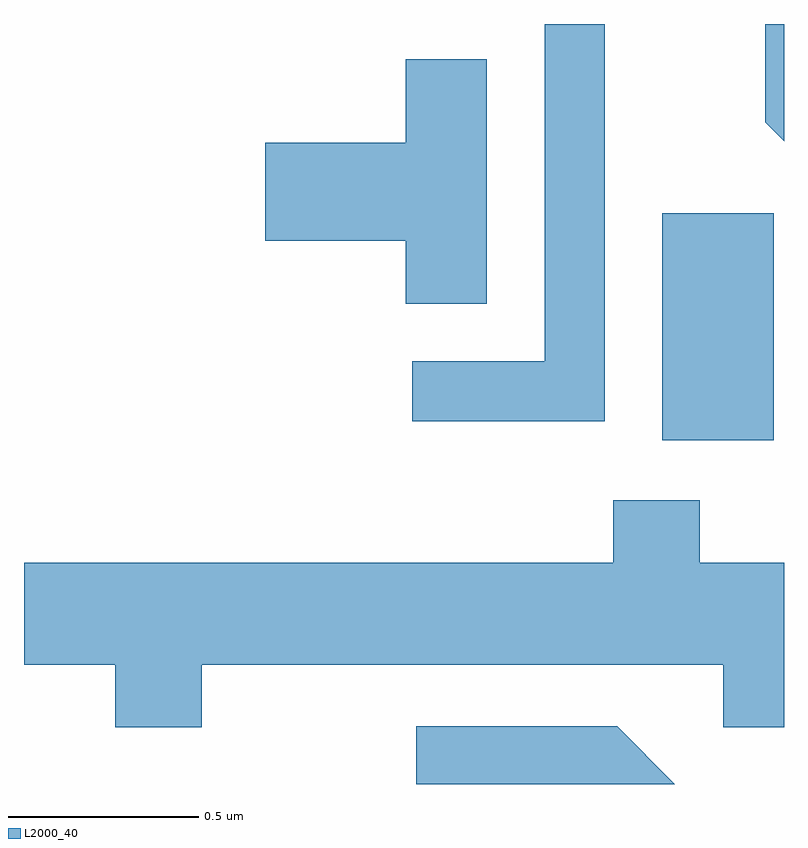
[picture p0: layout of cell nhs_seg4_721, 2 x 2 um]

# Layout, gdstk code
import gdstk
lib = gdstk.Library(unit=1e-6, precision=1e-09)
def R(c, l, rs):  # rectangles x0, y0, x1, y1
    for r in rs: c.add(gdstk.rectangle(r[:2], r[2:], *l))
def P(c, l, *ps):  # polygons
    for p in ps: c.add(gdstk.Polygon(p, *l))
L2000_40 = (2000, 40)

nhs_seg4_721 = lib.new_cell('nhs_seg4_721')
R(nhs_seg4_721, L2000_40, [(192.291,1290.886,192.584,1291.484)])
P(nhs_seg4_721, L2000_40, [(192.139,1291.982),(191.981,1291.982),(191.981,1291.094),(191.633,1291.094),(191.633,1290.936),(192.139,1290.936)],
  [(192.611,1291.982),(192.561,1291.982),(192.561,1291.724),(192.611,1291.674)],
  [(191.829,1291.889),(191.616,1291.889),(191.616,1291.669),(191.246,1291.669),(191.246,1291.411),(191.616,1291.411),(191.616,1291.246),(191.829,1291.246)],
  [(191.079,1290.296),(192.451,1290.296),(192.451,1290.131),(192.611,1290.131),(192.611,1290.564),(192.389,1290.564),(192.389,1290.729),(192.161,1290.729),(192.161,1290.564),(190.611,1290.564),(190.611,1290.296),(190.851,1290.296),(190.851,1290.131),(191.079,1290.131)],
  [(192.172,1290.134),(191.643,1290.134),(191.643,1289.982),(192.324,1289.982)])

lib.write_gds('nhs_seg4_721.gds')
